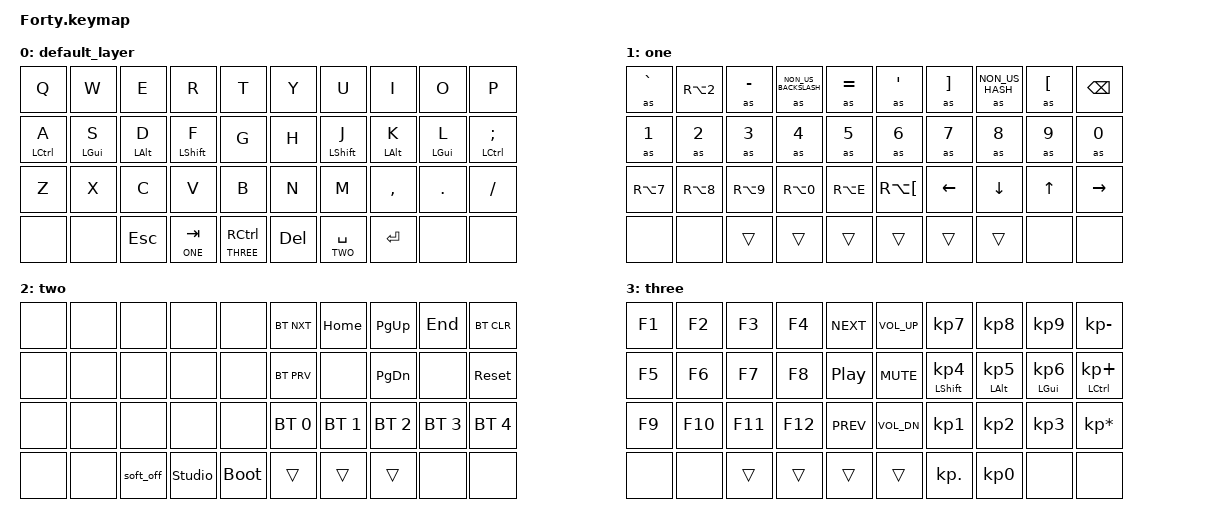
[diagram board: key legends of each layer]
#include <behaviors.dtsi>
#include <dt-bindings/zmk/bt.h>
#include <dt-bindings/zmk/keys.h>

/* Índices das layers (usados nos &lt) */
#define DEFAULT  0
#define ONE      1
#define TWO      2
#define THREE    3

/* Ajustes aos comportamentos “stock” */
&soft_off {
    hold-time-ms = <2000>; /* Desliga se a tecla for mantida 2s. */
};

&mt {
    tapping-term-ms = <200>;
};

/ {
    macros {
        as: as {
            compatible = "zmk,behavior-macro-one-param";
            #binding-cells = <1>;
            bindings =
                <&macro_press>,
                <&macro_param_1to1 &macro_param_1to2 &as_ht MACRO_PLACEHOLDER MACRO_PLACEHOLDER>,
                <&macro_pause_for_release>,
                <&macro_release>,
                <&macro_param_1to1 &macro_param_1to2 &as_ht MACRO_PLACEHOLDER MACRO_PLACEHOLDER>;

            label = "AS";
        };

        shift: shift {
            compatible = "zmk,behavior-macro-one-param";
            #binding-cells = <1>;
            bindings =
                <&macro_press>,
                <&kp LSHIFT>,
                <&macro_tap>,
                <&macro_param_1to1 &kp MACRO_PLACEHOLDER>,
                <&macro_release>,
                <&kp LSHIFT>;

            label = "SHIFT";
        };
    };

    behaviors {
        as_ht: autoshift_hold_tap {
            compatible = "zmk,behavior-hold-tap";
            label = "AUTOSHIFT_HOLD_TAP";
            bindings = <&shift>, <&kp>;

            #binding-cells = <2>;
            tapping-term-ms = <190>;
        };
    };

    keymap {
        compatible = "zmk,keymap";

        default_layer {
            bindings = <
				&kp Q        &kp W       &kp E       &kp R                 &kp T                    &kp Y                 &kp U              &kp I               &kp O               &kp P         
				&mt LCTRL A  &mt LGUI S  &mt LALT D  &mt LSHFT F           &kp G                    &kp H                 &mt LSHFT J        &mt LALT K          &mt LGUI L          &mt LCTRL SEMI
				&kp Z        &kp X       &kp C       &kp V                 &kp B                    &kp N                 &kp M              &kp COMMA           &kp DOT             &kp FSLH      
				&none        &none       &kp ESC     &lt ONE TAB           &lt THREE RIGHT_CONTROL  &kp DEL               &lt TWO SPACE      &kp ENTER           &none               &none         
            >;
        };

        one {
            bindings = <
				&as GRAVE    &kp RA(N2)  &as MINUS   &as NON_US_BACKSLASH  &as EQUAL                &as SINGLE_QUOTE      &as RIGHT_BRACKET  &as NON_US_HASH     &as LBKT            &kp BACKSPACE
				&as N1       &as N2      &as N3      &as N4                &as N5                   &as N6                &as N7             &as N8              &as N9              &as N0       
				&kp RA(N7)   &kp RA(N8)  &kp RA(N9)  &kp RA(N0)            &kp RA(E)                &kp RA(LEFT_BRACKET)  &kp LEFT           &kp DOWN            &kp UP              &kp RIGHT    
				&none        &none       &trans      &trans                &trans                   &trans                &trans             &trans              &none               &none        
            >;
        };

        two {
            bindings = <
				&none        &none       &none       &none                 &none                    &bt BT_NXT            &kp HOME           &kp PAGE_UP         &kp END             &bt BT_CLR  
				&none        &none       &none       &none                 &none                    &bt BT_PRV            &none              &kp PAGE_DOWN       &none               &sys_reset  
				&none        &none       &none       &none                 &none                    &bt BT_SEL 0          &bt BT_SEL 1       &bt BT_SEL 2        &bt BT_SEL 3        &bt BT_SEL 4
				&none        &none       &soft_off   &studio_unlock        &bootloader              &trans                &trans             &trans              &none               &none       
            >;
        };

        three {
            bindings = <
				&kp F1       &kp F2      &kp F3      &kp F4                &kp C_NEXT               &kp C_VOL_UP          &kp KP_N7          &kp KP_N8           &kp KP_N9           &kp KP_MINUS            
				&kp F5       &kp F6      &kp F7      &kp F8                &kp C_PP                 &kp C_MUTE            &mt LSHIFT KP_N4   &mt LEFT_ALT KP_N5  &mt LEFT_GUI KP_N6  &mt LEFT_CONTROL KP_PLUS
				&kp F9       &kp F10     &kp F11     &kp F12               &kp C_PREV               &kp C_VOL_DN          &kp KP_N1          &kp KP_N2           &kp KP_N3           &kp KP_MULTIPLY         
				&none        &none       &trans      &trans                &trans                   &trans                &kp KP_DOT         &kp KP_N0           &none               &none                   
            >;
        };
    };
};
